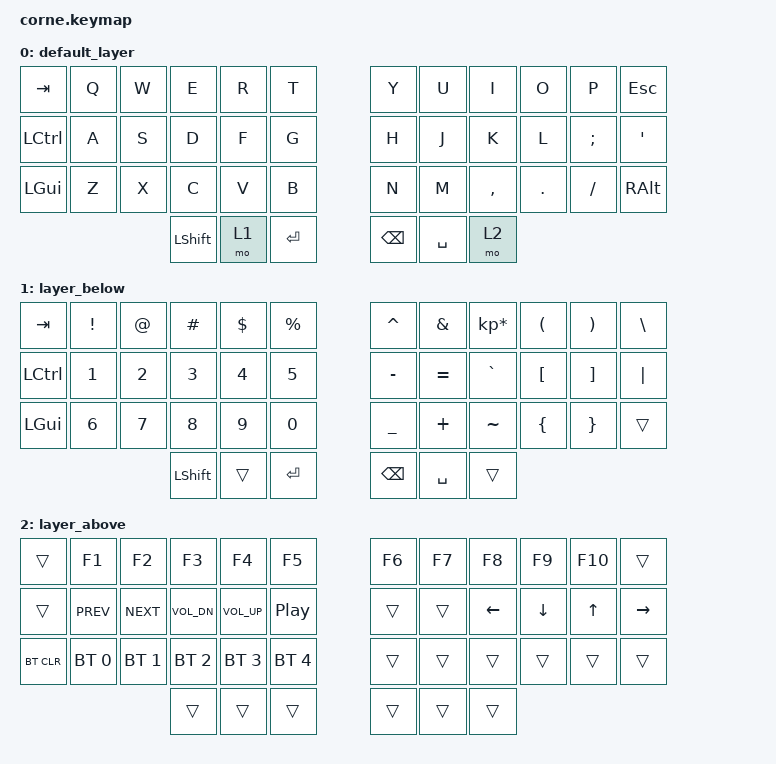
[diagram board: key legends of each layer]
/*
 * Copyright (c) 2020 The ZMK Contributors
 *
 * SPDX-License-Identifier: MIT
 */

#include <behaviors.dtsi>
#include <dt-bindings/zmk/keys.h>
#include <dt-bindings/zmk/bt.h>

/ {
        keymap {
                compatible = "zmk,keymap";

                default_layer {
// -----------------------------------------------------------------------------------------
// |  TAB |  Q  |  W  |  E  |  R  |  T  |   |  Y  |  U   |  I  |  O  |  P  | ESC |
// | CTRL |  A  |  S  |  D  |  F  |  G  |   |  H  |  J   |  K  |  L  |  ;  |  '   |
// | GUI |  Z  |  X  |  C  |  V  |  B  |   |  N  |  M   |  ,  |  .  |  /  | ALT |
//                    | SHFT | LWR | ENT |   | BKSP | SPC | RSE |
                        bindings = <
   &kp TAB   &kp Q &kp W &kp E &kp R &kp T   &kp Y &kp U  &kp I     &kp O   &kp P    &kp ESC
   &kp LCTRL &kp A &kp S &kp D &kp F &kp G   &kp H &kp J  &kp K     &kp L   &kp SEMI &kp SQT
   &kp LGUI &kp Z &kp X &kp C &kp V &kp B   &kp N &kp M  &kp COMMA &kp DOT &kp FSLH &kp RALT
                    &kp LSHFT  &mo 1 &kp RET   &kp BKSP &kp SPACE &mo 2
                        >;
                };

                layer_below {
// -----------------------------------------------------------------------------------------
// |  TAB |  !  |  @  |  #  |  $  |  %  |   |  ^  |  &  |  *  |  (  |  )  |  \   |
// | CTRL |  1  |  2  |  3  |  4  |  5  |   |  -  |  =  |  `  |  [  |  ]  |  "|" |
// | GUI |  6  |  7  |  8  |  9  |  0  |   |  _  |  +  |  ~  |  {  |  }  |      |
//                    | SHFT |     | Ent |   | BKSP | SPACE |    |
                        bindings = <
   &kp TAB   &kp EXCL &kp AT &kp HASH &kp DLLR &kp PRCNT   &kp CARET  &kp AMPS  &kp KP_MULTIPLY &kp LPAR &kp RPAR &kp BSLH
   &kp LCTRL &kp N1   &kp N2 &kp N3   &kp N4   &kp N5      &kp MINUS  &kp EQUAL &kp GRAVE       &kp LBKT &kp RBKT &kp PIPE
   &kp LGUI &kp N6   &kp N7 &kp N8   &kp N9   &kp N0      &kp UNDER  &kp PLUS  &kp TILDE       &kp LBRC &kp RBRC &trans
                    	       &kp LSHFT &trans   &kp RET     &kp BSPC  &kp SPACE  &trans
                        >;
                };

                layer_above {
// -----------------------------------------------------------------------------------------
// |       |  F1  |  F2  |  F3  |  F4  |  F5 |            |  F6  |  F7  |  F8  |  F9  |  F10  |   |
// |       | Prev | Next | Vol - | Vol + | Play/Pause |   |      |      |  LFT | DWN  | UP    |RGT|
// | BTCLR | BT1 | BT2 | BT3 | BT4 | BT5 |   |            |     |     |     |     |     |     |
//                    |     |     |    |                  |     |     |     |
                        bindings = <
   &trans     &kp F1        &kp F2       &kp F3       &kp F4       &kp F5          &kp F6   &kp F7   &kp F8 &kp F9    &kp F10 &trans
   &trans     &kp C_PREV    &kp C_NEXT   &kp C_VOL_DN &kp C_VOL_UP &kp C_PP        &trans &trans &kp LEFT &kp DOWN &kp UP &kp RIGHT
   &bt BT_CLR &bt BT_SEL 0  &bt BT_SEL 1 &bt BT_SEL 2 &bt BT_SEL 3 &bt BT_SEL 4    &trans   &trans   &trans &trans    &trans &trans
                          	                        &trans   &trans   &trans       &trans   &trans   &trans
                        >;
                };
        };
};
